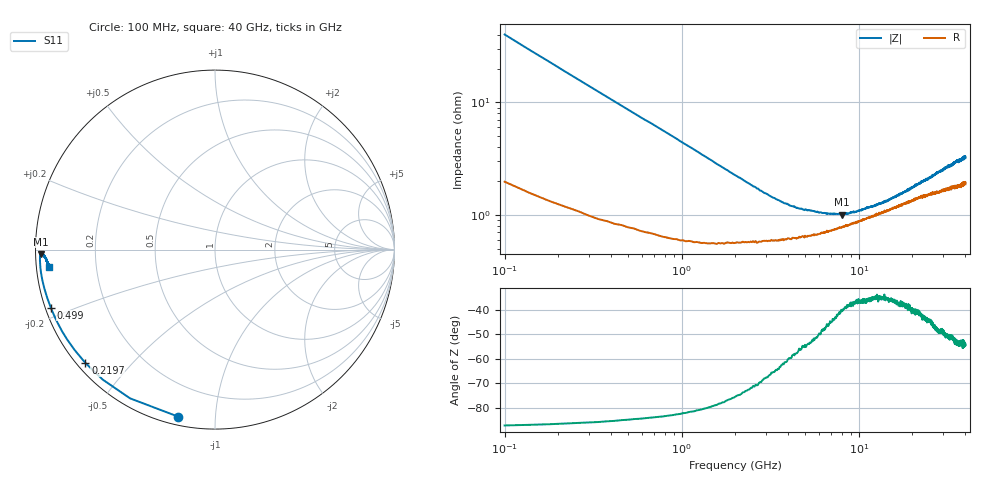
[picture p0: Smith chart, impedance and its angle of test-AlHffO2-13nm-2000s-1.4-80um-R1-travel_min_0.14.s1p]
#  HZ  S  RI  R  50.00
! Rohde & Schwarz Vector Network Analyzer
! Rohde-Schwarz,ZNA67-4Port,1332450064101810,2.73
! Created: UTC 5/16/2025, 1:33:36 PM
! freq[Hz]  re:S22  im:S22
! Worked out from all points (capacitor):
!   1001 points, 100 MHz to 40 GHz, reference 50 ohm
!   read as one part to ground: C = 37.5 pF near 299.5 MHz
!   lowest |Z| = 1 ohm at 8 GHz (marker M1)
!   S11 on the Smith chart (normalised r, x): 100 MHz: 0.04, -0.80; 219.7 MHz: 0.02, -0.38; 499 MHz: 0.02, -0.17; 40 GHz: 0.04, -0.05
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1e8  -0.2039 -0.9311
1.399e8  -0.4737 -0.8286
2.197e8  -0.7215 -0.6322
3.394e8  -0.8536 -0.4523
3.793e8  -0.8754 -0.411
4.192e8  -0.8921 -0.3771
4.591e8  -0.9045 -0.348
4.99e8  -0.9149 -0.3233
5.788e8  -0.9298 -0.2834
6.586e8  -0.9396 -0.2534
7.783e8  -0.9506 -0.2169
8.98e8  -0.9574 -0.19
1.0576e9  -0.9636 -0.162
1.2172e9  -0.9671 -0.1415
1.4167e9  -0.9704 -0.1216
1.6561e9  -0.9725 -0.1038
2.1748e9  -0.9744 -0.0787
2.9728e9  -0.9752 -0.0563
3.8905e9  -0.9752 -0.043
5.0875e9  -0.9739 -0.0349
8.0002e9  -0.9694 -0.0251
1.0075e10  -0.965 -0.0252
1.50625e10  -0.956 -0.031
2.005e10  -0.9469 -0.0416
2.50375e10  -0.9399 -0.0566
3.0025e10  -0.9336 -0.0731
3.50125e10  -0.9293 -0.0881
4e10  -0.923 -0.0962
